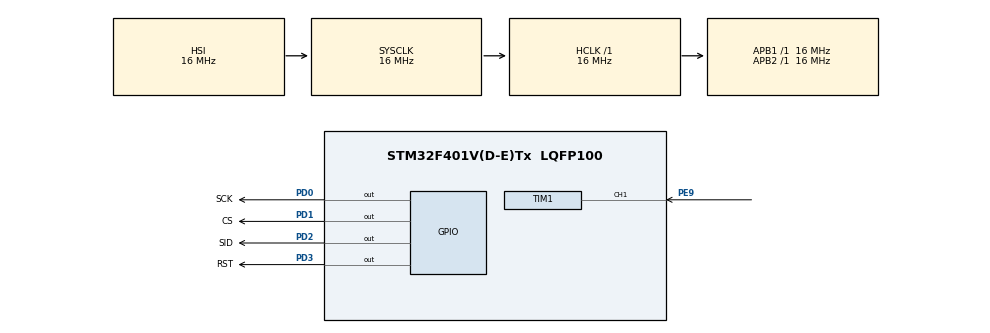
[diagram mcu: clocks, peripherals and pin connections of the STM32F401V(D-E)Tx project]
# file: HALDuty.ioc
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Mcu.Family=STM32F4
Mcu.Name=STM32F401V(D-E)Tx
Mcu.Package=LQFP100
NVIC.PriorityGroup=NVIC_PRIORITYGROUP_4
NVIC.TIM1_CC_IRQn=true\:0\:0\:false\:false\:true\:true\:true\:true
PD0.GPIO_Label=SCK
PD0.GPIO_PuPd=GPIO_PULLUP
PD0.Signal=GPIO_Output
PD1.GPIO_Label=CS
PD1.GPIO_PuPd=GPIO_PULLUP
PD1.Signal=GPIO_Output
PD2.GPIO_Label=SID
PD2.GPIO_PuPd=GPIO_PULLUP
PD2.Signal=GPIO_Output
PD3.GPIO_Label=RST
PD3.GPIO_PuPd=GPIO_PULLUP
PD3.Signal=GPIO_Output
PE9.Signal=S_TIM1_CH1
ProjectManager.HeapSize=0x200
ProjectManager.StackSize=0x400
ProjectManager.TargetToolchain=MDK-ARM V5.32
RCC.48MHZClocksFreq_Value=42000000
RCC.AHBFreq_Value=16000000
RCC.APB1Freq_Value=16000000
RCC.APB1TimFreq_Value=16000000
RCC.APB2Freq_Value=16000000
RCC.APB2TimFreq_Value=16000000
RCC.CortexFreq_Value=16000000
RCC.HCLKFreq_Value=16000000
RCC.HSE_VALUE=24000000
RCC.HSI_VALUE=16000000
RCC.LSE_VALUE=32768
RCC.PLLM=8
RCC.PLLN=84
RCC.SYSCLKFreq_VALUE=16000000
RCC.VCOOutputFreq_Value=168000000
SH.S_TIM1_CH1.0=TIM1_CH1,Input_Capture1_from_TI1
TIM1.Channel-Input_Capture1_from_TI1=TIM_CHANNEL_1
TIM1.Prescaler=15
VP_TIM1_VS_ClockSourceINT.Mode=Internal
board=custom

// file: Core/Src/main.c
/* USER CODE BEGIN Header */
/**
  ******************************************************************************
  * @file           : main.c
  * @brief          : Main program body
  ******************************************************************************
  * @attention
  *
  * Copyright (c) 2024 STMicroelectronics.
  * All rights reserved.
  *
  * This software is licensed under terms that can be found in the LICENSE file
  * in the root directory of this software component.
  * If no LICENSE file comes with this software, it is provided AS-IS.
  *
  ******************************************************************************
  */
/* USER CODE END Header */
#include "main.h"

/* USER CODE BEGIN Includes */
#include "lcd.h"
//#include "delay.h"
#include <stdio.h>
#include <string.h>
/* USER CODE END Includes */

/* USER CODE BEGIN PTD */
#define TIMCLOCK   16000000
#define PRESCALAR  16
#define Compensate  416

/////////////
uint32_t PulseFreq = 0;
uint32_t PulseDuty = 0;
uint8_t capture_end_flag = 0;

uint32_t high_val1 = 0,high_val = 0;
uint32_t low_val = 0;
uint32_t HDiff = 0,LDiff = 0,FDiff = 0;
/* USER CODE END PTD */

TIM_HandleTypeDef htim1;

void SystemClock_Config(void);
static void MX_GPIO_Init(void);
static void MX_TIM1_Init(void);

/* USER CODE BEGIN 0 */
void HAL_TIM_IC_CaptureCallback(TIM_HandleTypeDef *htim)
{

		static uint8_t capture_cnt = 1;    //电平捕捉计数

    if(htim->Instance == TIM1)        //判断是否由定时器3产生
    {
        if(htim->Channel == HAL_TIM_ACTIVE_CHANNEL_1)    //TIM3 通道2
        {
            if(capture_end_flag == 0)
            {
                if(capture_cnt == 1)        //第一个上升沿
                {
                    capture_cnt = 2;
                    __HAL_TIM_SET_CAPTUREPOLARITY(htim, TIM_CHANNEL_1, TIM_INPUTCHANNELPOLARITY_FALLING); //设置成下降沿触发
                   // __HAL_TIM_SetCounter(htim, 0);    //清空定时器计数值
                    high_val1 = HAL_TIM_ReadCapturedValue(htim, TIM_CHANNEL_1);    //由第一个上升沿设为起始位置

                }else if(capture_cnt == 2)    //第一个下降沿
                {
                    capture_cnt = 3;
                    low_val = HAL_TIM_ReadCapturedValue(htim, TIM_CHANNEL_1);    //低电平起始位置
                    __HAL_TIM_SET_CAPTUREPOLARITY(htim, TIM_CHANNEL_1,TIM_INPUTCHANNELPOLARITY_RISING); //设置成上升沿触发

                }else if(capture_cnt == 3)    //第二个上升沿
                {
                    capture_cnt = 1;
                    high_val = HAL_TIM_ReadCapturedValue(htim, TIM_CHANNEL_1);
									  if (high_val > high_val1)
											{
													FDiff = high_val-high_val1;
											}
										else if (high_val1 > high_val)
											{
													FDiff = (0xffffffff - high_val1) + high_val;
											}

											if (low_val > high_val1)
											{
													HDiff = low_val-high_val1;
											}
										else if (high_val1 > low_val)
											{
													HDiff = (0xffffffff - high_val1) + low_val;
											}

											if (high_val > low_val)
											{
													LDiff = high_val-low_val;
											}
										else if (low_val >high_val )
											{
													LDiff = (0xffffffff - low_val) + high_val;
											}
                    //计算频率
											PulseFreq = (float)1000000/ FDiff;
                    //计算占空比
											PulseDuty=(HDiff*100)/(HDiff+LDiff);
									  __HAL_TIM_SET_COUNTER(htim, 0);
                    capture_end_flag = 0;
                }
            }
        }
    }
}
/* USER CODE END 0 */

int main(void)
{

  /* USER CODE BEGIN 1 */
  char duty[20]={0};
	char freqa[20]={0};
  /* USER CODE END 1 */
  /* MCU Configuration--------------------------------------------------------*/
  /* Reset of all peripherals, Initializes the Flash interface and the Systick. */
  HAL_Init();
  /* Configure the system clock */
  SystemClock_Config();
  /* Initialize all configured peripherals */
  MX_GPIO_Init();
  MX_TIM1_Init();
  /* USER CODE BEGIN 2 */
	 //delay_init(16);
   ST7920_Init();
	 LCD12864_ShowStr(0, 0, "频率占空比测量");
   LCD12864_ShowStr(1, 0, "频  率:       Hz");
	 LCD12864_ShowStr(2, 0, "占空比:        %");
	 HAL_TIM_IC_Start_IT(&htim1, TIM_CHANNEL_1);
  /* USER CODE END 2 */
  /* Infinite loop */
  while (1)
  {
    /* USER CODE BEGIN 3 */
		snprintf(freqa, sizeof(freqa), "%d", (uint32_t)PulseFreq);
		snprintf(duty, sizeof(duty), "%d", (uint32_t)PulseDuty);
    ST7920_SendString(1,4, freqa);
		ST7920_SendString(2,4,duty);
  }
  /* USER CODE END 3 */
}

void SystemClock_Config(void)
{
  RCC_OscInitTypeDef RCC_OscInitStruct = {0};
  RCC_ClkInitTypeDef RCC_ClkInitStruct = {0};

  /** Configure the main internal regulator output voltage
  */
  __HAL_RCC_PWR_CLK_ENABLE();
  __HAL_PWR_VOLTAGESCALING_CONFIG(PWR_REGULATOR_VOLTAGE_SCALE2);

  /** Initializes the RCC Oscillators according to the specified parameters
  * in the RCC_OscInitTypeDef structure.
  */
  RCC_OscInitStruct.OscillatorType = RCC_OSCILLATORTYPE_HSI;
  RCC_OscInitStruct.HSIState = RCC_HSI_ON;
  RCC_OscInitStruct.HSICalibrationValue = RCC_HSICALIBRATION_DEFAULT;
  RCC_OscInitStruct.PLL.PLLState = RCC_PLL_NONE;
  if (HAL_RCC_OscConfig(&RCC_OscInitStruct) != HAL_OK)
  {
    Error_Handler();
  }

  /** Initializes the CPU, AHB and APB buses clocks
  */
  RCC_ClkInitStruct.ClockType = RCC_CLOCKTYPE_HCLK|RCC_CLOCKTYPE_SYSCLK
                              |RCC_CLOCKTYPE_PCLK1|RCC_CLOCKTYPE_PCLK2;
  RCC_ClkInitStruct.SYSCLKSource = RCC_SYSCLKSOURCE_HSI;
  RCC_ClkInitStruct.AHBCLKDivider = RCC_SYSCLK_DIV1;
  RCC_ClkInitStruct.APB1CLKDivider = RCC_HCLK_DIV1;
  RCC_ClkInitStruct.APB2CLKDivider = RCC_HCLK_DIV1;

  if (HAL_RCC_ClockConfig(&RCC_ClkInitStruct, FLASH_LATENCY_0) != HAL_OK)
  {
    Error_Handler();
  }
}

static void MX_TIM1_Init(void)
{

  TIM_ClockConfigTypeDef sClockSourceConfig = {0};
  TIM_MasterConfigTypeDef sMasterConfig = {0};
  TIM_IC_InitTypeDef sConfigIC = {0};

  htim1.Instance = TIM1;
  htim1.Init.Prescaler = 15;
  htim1.Init.CounterMode = TIM_COUNTERMODE_UP;
  htim1.Init.Period = 65535;
  htim1.Init.ClockDivision = TIM_CLOCKDIVISION_DIV1;
  htim1.Init.RepetitionCounter = 0;
  htim1.Init.AutoReloadPreload = TIM_AUTORELOAD_PRELOAD_DISABLE;
  if (HAL_TIM_Base_Init(&htim1) != HAL_OK)
  {
    Error_Handler();
  }
  sClockSourceConfig.ClockSource = TIM_CLOCKSOURCE_INTERNAL;
  if (HAL_TIM_ConfigClockSource(&htim1, &sClockSourceConfig) != HAL_OK)
  {
    Error_Handler();
  }
  if (HAL_TIM_IC_Init(&htim1) != HAL_OK)
  {
    Error_Handler();
  }
  sMasterConfig.MasterOutputTrigger = TIM_TRGO_RESET;
  sMasterConfig.MasterSlaveMode = TIM_MASTERSLAVEMODE_DISABLE;
  if (HAL_TIMEx_MasterConfigSynchronization(&htim1, &sMasterConfig) != HAL_OK)
  {
    Error_Handler();
  }
  sConfigIC.ICPolarity = TIM_INPUTCHANNELPOLARITY_RISING;
  sConfigIC.ICSelection = TIM_ICSELECTION_DIRECTTI;
  sConfigIC.ICPrescaler = TIM_ICPSC_DIV1;
  sConfigIC.ICFilter = 0;
  if (HAL_TIM_IC_ConfigChannel(&htim1, &sConfigIC, TIM_CHANNEL_1) != HAL_OK)
  {
    Error_Handler();
  }

}

static void MX_GPIO_Init(void)
{
  GPIO_InitTypeDef GPIO_InitStruct = {0};

  /* GPIO Ports Clock Enable */
  __HAL_RCC_GPIOE_CLK_ENABLE();
  __HAL_RCC_GPIOD_CLK_ENABLE();

  /*Configure GPIO pin Output Level */
  HAL_GPIO_WritePin(GPIOD, SCK_Pin|CS_Pin|SID_Pin|RST_Pin, GPIO_PIN_RESET);

  /*Configure GPIO pins : SCK_Pin CS_Pin SID_Pin RST_Pin */
  GPIO_InitStruct.Pin = SCK_Pin|CS_Pin|SID_Pin|RST_Pin;
  GPIO_InitStruct.Mode = GPIO_MODE_OUTPUT_PP;
  GPIO_InitStruct.Pull = GPIO_PULLUP;
  GPIO_InitStruct.Speed = GPIO_SPEED_FREQ_LOW;
  HAL_GPIO_Init(GPIOD, &GPIO_InitStruct);

}

void Error_Handler(void)
{
  __disable_irq();
  while (1)
  {
  }
}
